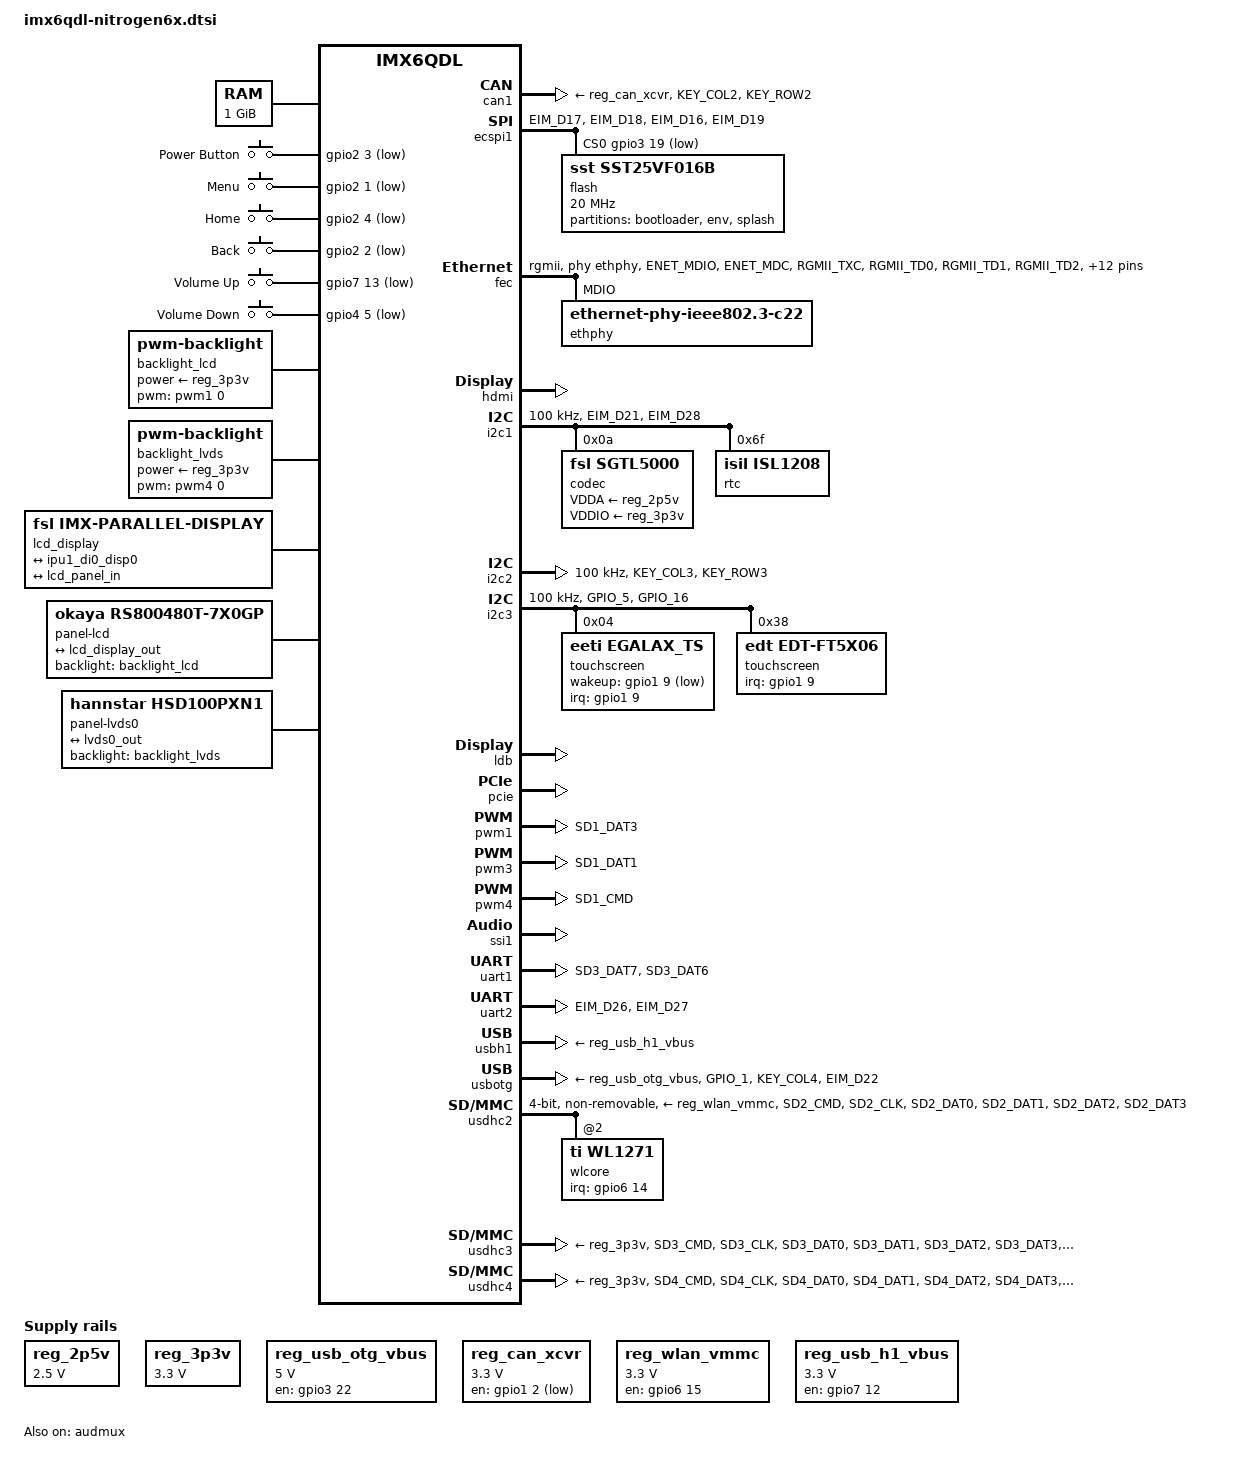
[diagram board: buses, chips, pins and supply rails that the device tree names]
// SPDX-License-Identifier: GPL-2.0 OR X11
/*
 * Copyright 2013 Boundary Devices, Inc.
 * Copyright 2011 Freescale Semiconductor, Inc.
 * Copyright 2011 Linaro Ltd.
 */
#include <dt-bindings/gpio/gpio.h>
#include <dt-bindings/input/input.h>

/ {
	chosen {
		stdout-path = &uart2;
	};

	memory@10000000 {
		device_type = "memory";
		reg = <0x10000000 0x40000000>;
	};

	reg_2p5v: regulator-2p5v {
		compatible = "regulator-fixed";
		regulator-name = "2P5V";
		regulator-min-microvolt = <2500000>;
		regulator-max-microvolt = <2500000>;
		regulator-always-on;
	};

	reg_3p3v: regulator-3p3v {
		compatible = "regulator-fixed";
		regulator-name = "3P3V";
		regulator-min-microvolt = <3300000>;
		regulator-max-microvolt = <3300000>;
		regulator-always-on;
	};

	reg_usb_otg_vbus: regulator-usb-otg-vbus {
		compatible = "regulator-fixed";
		regulator-name = "usb_otg_vbus";
		regulator-min-microvolt = <5000000>;
		regulator-max-microvolt = <5000000>;
		gpio = <&gpio3 22 0>;
		enable-active-high;
	};

	reg_can_xcvr: regulator-can-xcvr {
		compatible = "regulator-fixed";
		regulator-name = "CAN XCVR";
		regulator-min-microvolt = <3300000>;
		regulator-max-microvolt = <3300000>;
		pinctrl-names = "default";
		pinctrl-0 = <&pinctrl_can_xcvr>;
		gpio = <&gpio1 2 GPIO_ACTIVE_LOW>;
	};

	reg_wlan_vmmc: regulator-wlan-vmmc {
		compatible = "regulator-fixed";
		pinctrl-names = "default";
		pinctrl-0 = <&pinctrl_wlan_vmmc>;
		regulator-name = "reg_wlan_vmmc";
		regulator-min-microvolt = <3300000>;
		regulator-max-microvolt = <3300000>;
		gpio = <&gpio6 15 GPIO_ACTIVE_HIGH>;
		startup-delay-us = <70000>;
		enable-active-high;
	};

	reg_usb_h1_vbus: regulator-usb-h1-vbus {
		compatible = "regulator-fixed";
		pinctrl-names = "default";
		pinctrl-0 = <&pinctrl_usbh1>;
		regulator-name = "usb_h1_vbus";
		regulator-min-microvolt = <3300000>;
		regulator-max-microvolt = <3300000>;
		gpio = <&gpio7 12 GPIO_ACTIVE_HIGH>;
		enable-active-high;
	};

	gpio-keys {
		compatible = "gpio-keys";
		pinctrl-names = "default";
		pinctrl-0 = <&pinctrl_gpio_keys>;

		power {
			label = "Power Button";
			gpios = <&gpio2 3 GPIO_ACTIVE_LOW>;
			linux,code = <KEY_POWER>;
			wakeup-source;
		};

		menu {
			label = "Menu";
			gpios = <&gpio2 1 GPIO_ACTIVE_LOW>;
			linux,code = <KEY_MENU>;
		};

		home {
			label = "Home";
			gpios = <&gpio2 4 GPIO_ACTIVE_LOW>;
			linux,code = <KEY_HOME>;
		};

		back {
			label = "Back";
			gpios = <&gpio2 2 GPIO_ACTIVE_LOW>;
			linux,code = <KEY_BACK>;
		};

		volume-up {
			label = "Volume Up";
			gpios = <&gpio7 13 GPIO_ACTIVE_LOW>;
			linux,code = <KEY_VOLUMEUP>;
		};

		volume-down {
			label = "Volume Down";
			gpios = <&gpio4 5 GPIO_ACTIVE_LOW>;
			linux,code = <KEY_VOLUMEDOWN>;
		};
	};

	sound {
		compatible = "fsl,imx6q-nitrogen6x-sgtl5000",
			     "fsl,imx-audio-sgtl5000";
		model = "imx6q-nitrogen6x-sgtl5000";
		ssi-controller = <&ssi1>;
		audio-codec = <&codec>;
		audio-routing =
			"MIC_IN", "Mic Jack",
			"Mic Jack", "Mic Bias",
			"Headphone Jack", "HP_OUT";
		mux-int-port = <1>;
		mux-ext-port = <3>;
	};

	backlight_lcd: backlight-lcd {
		compatible = "pwm-backlight";
		pwms = <&pwm1 0 5000000 0>;
		brightness-levels = <0 4 8 16 32 64 128 255>;
		default-brightness-level = <7>;
		power-supply = <&reg_3p3v>;
		status = "okay";
	};

	backlight_lvds: backlight-lvds {
		compatible = "pwm-backlight";
		pwms = <&pwm4 0 5000000 0>;
		brightness-levels = <0 4 8 16 32 64 128 255>;
		default-brightness-level = <7>;
		power-supply = <&reg_3p3v>;
		status = "okay";
	};

	lcd_display: disp0 {
		compatible = "fsl,imx-parallel-display";
		#address-cells = <1>;
		#size-cells = <0>;
		interface-pix-fmt = "bgr666";
		pinctrl-names = "default";
		pinctrl-0 = <&pinctrl_j15>;
		status = "okay";

		port@0 {
			reg = <0>;

			lcd_display_in: endpoint {
				remote-endpoint = <&ipu1_di0_disp0>;
			};
		};

		port@1 {
			reg = <1>;

			lcd_display_out: endpoint {
				remote-endpoint = <&lcd_panel_in>;
			};
		};
	};

	panel-lcd {
		compatible = "okaya,rs800480t-7x0gp";
		backlight = <&backlight_lcd>;

		port {
			lcd_panel_in: endpoint {
				remote-endpoint = <&lcd_display_out>;
			};
		};
	};

	panel-lvds0 {
		compatible = "hannstar,hsd100pxn1";
		backlight = <&backlight_lvds>;

		port {
			panel_in: endpoint {
				remote-endpoint = <&lvds0_out>;
			};
		};
	};
};

&audmux {
	pinctrl-names = "default";
	pinctrl-0 = <&pinctrl_audmux>;
	status = "okay";
};

&can1 {
	pinctrl-names = "default";
	pinctrl-0 = <&pinctrl_can1>;
	xceiver-supply = <&reg_can_xcvr>;
	status = "okay";
};

&clks {
	assigned-clocks = <&clks IMX6QDL_CLK_LDB_DI0_SEL>,
			  <&clks IMX6QDL_CLK_LDB_DI1_SEL>;
	assigned-clock-parents = <&clks IMX6QDL_CLK_PLL3_USB_OTG>,
				 <&clks IMX6QDL_CLK_PLL3_USB_OTG>;
};

&ecspi1 {
	cs-gpios = <&gpio3 19 GPIO_ACTIVE_LOW>;
	pinctrl-names = "default";
	pinctrl-0 = <&pinctrl_ecspi1>;
	status = "okay";

	flash: flash@0 {
		compatible = "sst,sst25vf016b", "jedec,spi-nor";
		spi-max-frequency = <20000000>;
		reg = <0>;
		#address-cells = <1>;
		#size-cells = <1>;

		partition@0 {
			label = "bootloader";
			reg = <0x0 0xc0000>;
		};

		partition@c0000 {
			label = "env";
			reg = <0xc0000 0x2000>;
		};

		partition@c2000 {
			label = "splash";
			reg = <0xc2000 0x13e000>;
		};
	};
};

&fec {
	pinctrl-names = "default";
	pinctrl-0 = <&pinctrl_enet>;
	phy-mode = "rgmii";
	phy-handle = <&ethphy>;
	phy-reset-gpios = <&gpio1 27 GPIO_ACTIVE_LOW>;
	/delete-property/ interrupts;
	interrupts-extended = <&gpio1 6 IRQ_TYPE_LEVEL_HIGH>,
			      <&intc 0 119 IRQ_TYPE_LEVEL_HIGH>;
	fsl,err006687-workaround-present;
	status = "okay";

	mdio {
		#address-cells = <1>;
		#size-cells = <0>;

		ethphy: ethernet-phy {
			compatible = "ethernet-phy-ieee802.3-c22";
			txen-skew-ps = <0>;
			txc-skew-ps = <3000>;
			rxdv-skew-ps = <0>;
			rxc-skew-ps = <3000>;
			rxd0-skew-ps = <0>;
			rxd1-skew-ps = <0>;
			rxd2-skew-ps = <0>;
			rxd3-skew-ps = <0>;
			txd0-skew-ps = <0>;
			txd1-skew-ps = <0>;
			txd2-skew-ps = <0>;
			txd3-skew-ps = <0>;
		};
	};
};

&hdmi {
	ddc-i2c-bus = <&i2c2>;
	status = "okay";
};

&i2c1 {
	clock-frequency = <100000>;
	pinctrl-names = "default";
	pinctrl-0 = <&pinctrl_i2c1>;
	status = "okay";

	codec: sgtl5000@a {
		compatible = "fsl,sgtl5000";
		reg = <0x0a>;
		#sound-dai-cells = <0>;
		clocks = <&clks IMX6QDL_CLK_CKO>;
		VDDA-supply = <&reg_2p5v>;
		VDDIO-supply = <&reg_3p3v>;
	};

	rtc: rtc@6f {
		compatible = "isil,isl1208";
		reg = <0x6f>;
	};
};

&i2c2 {
	clock-frequency = <100000>;
	pinctrl-names = "default";
	pinctrl-0 = <&pinctrl_i2c2>;
	status = "okay";
};

&i2c3 {
	clock-frequency = <100000>;
	pinctrl-names = "default";
	pinctrl-0 = <&pinctrl_i2c3>;
	status = "okay";

	touchscreen@4 {
		compatible = "eeti,egalax_ts";
		reg = <0x04>;
		interrupt-parent = <&gpio1>;
		interrupts = <9 IRQ_TYPE_EDGE_FALLING>;
		wakeup-gpios = <&gpio1 9 GPIO_ACTIVE_LOW>;
	};

	touchscreen@38 {
		compatible = "edt,edt-ft5x06";
		reg = <0x38>;
		interrupt-parent = <&gpio1>;
		interrupts = <9 IRQ_TYPE_EDGE_FALLING>;
		wakeup-source;
	};
};

&iomuxc {
	pinctrl-names = "default";
	pinctrl-0 = <&pinctrl_hog>;

	imx6q-nitrogen6x {
		pinctrl_hog: hoggrp {
			fsl,pins = <
				/* SGTL5000 sys_mclk */
				MX6QDL_PAD_GPIO_0__CCM_CLKO1    0x030b0
				MX6QDL_PAD_GPIO_9__GPIO1_IO09	0x1b0b0
			>;
		};

		pinctrl_audmux: audmuxgrp {
			fsl,pins = <
				MX6QDL_PAD_CSI0_DAT7__AUD3_RXD		0x130b0
				MX6QDL_PAD_CSI0_DAT4__AUD3_TXC		0x130b0
				MX6QDL_PAD_CSI0_DAT5__AUD3_TXD		0x110b0
				MX6QDL_PAD_CSI0_DAT6__AUD3_TXFS		0x130b0
			>;
		};

		pinctrl_can1: can1grp {
			fsl,pins = <
				MX6QDL_PAD_KEY_COL2__FLEXCAN1_TX	0x1b0b0
				MX6QDL_PAD_KEY_ROW2__FLEXCAN1_RX	0x1b0b0
			>;
		};

		pinctrl_can_xcvr: can-xcvrgrp {
			fsl,pins = <
				/* Flexcan XCVR enable */
				MX6QDL_PAD_GPIO_2__GPIO1_IO02		0x1b0b0
			>;
		};

		pinctrl_ecspi1: ecspi1grp {
			fsl,pins = <
				MX6QDL_PAD_EIM_D17__ECSPI1_MISO		0x100b1
				MX6QDL_PAD_EIM_D18__ECSPI1_MOSI		0x100b1
				MX6QDL_PAD_EIM_D16__ECSPI1_SCLK		0x100b1
				MX6QDL_PAD_EIM_D19__GPIO3_IO19  0x000b1	/* CS */
			>;
		};

		pinctrl_enet: enetgrp {
			fsl,pins = <
				MX6QDL_PAD_ENET_MDIO__ENET_MDIO		0x100b0
				MX6QDL_PAD_ENET_MDC__ENET_MDC		0x100b0
				MX6QDL_PAD_RGMII_TXC__RGMII_TXC		0x10030
				MX6QDL_PAD_RGMII_TD0__RGMII_TD0		0x10030
				MX6QDL_PAD_RGMII_TD1__RGMII_TD1		0x10030
				MX6QDL_PAD_RGMII_TD2__RGMII_TD2		0x10030
				MX6QDL_PAD_RGMII_TD3__RGMII_TD3		0x10030
				MX6QDL_PAD_RGMII_TX_CTL__RGMII_TX_CTL	0x10030
				MX6QDL_PAD_ENET_REF_CLK__ENET_TX_CLK	0x100b0
				MX6QDL_PAD_RGMII_RXC__RGMII_RXC		0x1b030
				MX6QDL_PAD_RGMII_RD0__RGMII_RD0		0x1b030
				MX6QDL_PAD_RGMII_RD1__RGMII_RD1		0x1b030
				MX6QDL_PAD_RGMII_RD2__RGMII_RD2		0x1b030
				MX6QDL_PAD_RGMII_RD3__RGMII_RD3		0x1b030
				MX6QDL_PAD_RGMII_RX_CTL__RGMII_RX_CTL	0x1b030
				/* Phy reset */
				MX6QDL_PAD_ENET_RXD0__GPIO1_IO27	0x000b0
				MX6QDL_PAD_GPIO_6__ENET_IRQ		0x000b1
			>;
		};

		pinctrl_gpio_keys: gpio-keysgrp {
			fsl,pins = <
				/* Power Button */
				MX6QDL_PAD_NANDF_D3__GPIO2_IO03		0x1b0b0
				/* Menu Button */
				MX6QDL_PAD_NANDF_D1__GPIO2_IO01		0x1b0b0
				/* Home Button */
				MX6QDL_PAD_NANDF_D4__GPIO2_IO04		0x1b0b0
				/* Back Button */
				MX6QDL_PAD_NANDF_D2__GPIO2_IO02		0x1b0b0
				/* Volume Up Button */
				MX6QDL_PAD_GPIO_18__GPIO7_IO13		0x1b0b0
				/* Volume Down Button */
				MX6QDL_PAD_GPIO_19__GPIO4_IO05		0x1b0b0
			>;
		};

		pinctrl_i2c1: i2c1grp {
			fsl,pins = <
				MX6QDL_PAD_EIM_D21__I2C1_SCL		0x4001b8b1
				MX6QDL_PAD_EIM_D28__I2C1_SDA		0x4001b8b1
			>;
		};

		pinctrl_i2c2: i2c2grp {
			fsl,pins = <
				MX6QDL_PAD_KEY_COL3__I2C2_SCL		0x4001b8b1
				MX6QDL_PAD_KEY_ROW3__I2C2_SDA		0x4001b8b1
			>;
		};

		pinctrl_i2c3: i2c3grp {
			fsl,pins = <
				MX6QDL_PAD_GPIO_5__I2C3_SCL		0x4001b8b1
				MX6QDL_PAD_GPIO_16__I2C3_SDA		0x4001b8b1
			>;
		};

		pinctrl_j15: j15grp {
			fsl,pins = <
				MX6QDL_PAD_DI0_DISP_CLK__IPU1_DI0_DISP_CLK 0x10
				MX6QDL_PAD_DI0_PIN15__IPU1_DI0_PIN15       0x10
				MX6QDL_PAD_DI0_PIN2__IPU1_DI0_PIN02        0x10
				MX6QDL_PAD_DI0_PIN3__IPU1_DI0_PIN03        0x10
				MX6QDL_PAD_DISP0_DAT0__IPU1_DISP0_DATA00   0x10
				MX6QDL_PAD_DISP0_DAT1__IPU1_DISP0_DATA01   0x10
				MX6QDL_PAD_DISP0_DAT2__IPU1_DISP0_DATA02   0x10
				MX6QDL_PAD_DISP0_DAT3__IPU1_DISP0_DATA03   0x10
				MX6QDL_PAD_DISP0_DAT4__IPU1_DISP0_DATA04   0x10
				MX6QDL_PAD_DISP0_DAT5__IPU1_DISP0_DATA05   0x10
				MX6QDL_PAD_DISP0_DAT6__IPU1_DISP0_DATA06   0x10
				MX6QDL_PAD_DISP0_DAT7__IPU1_DISP0_DATA07   0x10
				MX6QDL_PAD_DISP0_DAT8__IPU1_DISP0_DATA08   0x10
				MX6QDL_PAD_DISP0_DAT9__IPU1_DISP0_DATA09   0x10
				MX6QDL_PAD_DISP0_DAT10__IPU1_DISP0_DATA10  0x10
				MX6QDL_PAD_DISP0_DAT11__IPU1_DISP0_DATA11  0x10
				MX6QDL_PAD_DISP0_DAT12__IPU1_DISP0_DATA12  0x10
				MX6QDL_PAD_DISP0_DAT13__IPU1_DISP0_DATA13  0x10
				MX6QDL_PAD_DISP0_DAT14__IPU1_DISP0_DATA14  0x10
				MX6QDL_PAD_DISP0_DAT15__IPU1_DISP0_DATA15  0x10
				MX6QDL_PAD_DISP0_DAT16__IPU1_DISP0_DATA16  0x10
				MX6QDL_PAD_DISP0_DAT17__IPU1_DISP0_DATA17  0x10
				MX6QDL_PAD_DISP0_DAT18__IPU1_DISP0_DATA18  0x10
				MX6QDL_PAD_DISP0_DAT19__IPU1_DISP0_DATA19  0x10
				MX6QDL_PAD_DISP0_DAT20__IPU1_DISP0_DATA20  0x10
				MX6QDL_PAD_DISP0_DAT21__IPU1_DISP0_DATA21  0x10
				MX6QDL_PAD_DISP0_DAT22__IPU1_DISP0_DATA22  0x10
				MX6QDL_PAD_DISP0_DAT23__IPU1_DISP0_DATA23  0x10
			>;
		};

		pinctrl_pwm1: pwm1grp {
			fsl,pins = <
				MX6QDL_PAD_SD1_DAT3__PWM1_OUT 0x1b0b1
			>;
		};

		pinctrl_pwm3: pwm3grp {
			fsl,pins = <
				MX6QDL_PAD_SD1_DAT1__PWM3_OUT 0x1b0b1
			>;
		};

		pinctrl_pwm4: pwm4grp {
			fsl,pins = <
				MX6QDL_PAD_SD1_CMD__PWM4_OUT 0x1b0b1
			>;
		};

		pinctrl_uart1: uart1grp {
			fsl,pins = <
				MX6QDL_PAD_SD3_DAT7__UART1_TX_DATA	0x1b0b1
				MX6QDL_PAD_SD3_DAT6__UART1_RX_DATA	0x1b0b1
			>;
		};

		pinctrl_uart2: uart2grp {
			fsl,pins = <
				MX6QDL_PAD_EIM_D26__UART2_TX_DATA	0x1b0b1
				MX6QDL_PAD_EIM_D27__UART2_RX_DATA	0x1b0b1
			>;
		};

		pinctrl_usbh1: usbh1grp {
			fsl,pins = <
				MX6QDL_PAD_GPIO_17__GPIO7_IO12		0x030b0
			>;
		};

		pinctrl_usbotg: usbotggrp {
			fsl,pins = <
				MX6QDL_PAD_GPIO_1__USB_OTG_ID	0x17059
				MX6QDL_PAD_KEY_COL4__USB_OTG_OC	0x1b0b0
				/* power enable, high active */
				MX6QDL_PAD_EIM_D22__GPIO3_IO22  0x000b0
			>;
		};

		pinctrl_usdhc2: usdhc2grp {
			fsl,pins = <
				MX6QDL_PAD_SD2_CMD__SD2_CMD		0x17071
				MX6QDL_PAD_SD2_CLK__SD2_CLK		0x10071
				MX6QDL_PAD_SD2_DAT0__SD2_DATA0		0x17071
				MX6QDL_PAD_SD2_DAT1__SD2_DATA1		0x17071
				MX6QDL_PAD_SD2_DAT2__SD2_DATA2		0x17071
				MX6QDL_PAD_SD2_DAT3__SD2_DATA3		0x17071
			>;
		};

		pinctrl_usdhc3: usdhc3grp {
			fsl,pins = <
				MX6QDL_PAD_SD3_CMD__SD3_CMD		0x17059
				MX6QDL_PAD_SD3_CLK__SD3_CLK		0x10059
				MX6QDL_PAD_SD3_DAT0__SD3_DATA0		0x17059
				MX6QDL_PAD_SD3_DAT1__SD3_DATA1		0x17059
				MX6QDL_PAD_SD3_DAT2__SD3_DATA2		0x17059
				MX6QDL_PAD_SD3_DAT3__SD3_DATA3		0x17059
				MX6QDL_PAD_SD3_DAT5__GPIO7_IO00 0x1b0b0	/* CD */
			>;
		};

		pinctrl_usdhc4: usdhc4grp {
			fsl,pins = <
				MX6QDL_PAD_SD4_CMD__SD4_CMD		0x17059
				MX6QDL_PAD_SD4_CLK__SD4_CLK		0x10059
				MX6QDL_PAD_SD4_DAT0__SD4_DATA0		0x17059
				MX6QDL_PAD_SD4_DAT1__SD4_DATA1		0x17059
				MX6QDL_PAD_SD4_DAT2__SD4_DATA2		0x17059
				MX6QDL_PAD_SD4_DAT3__SD4_DATA3		0x17059
				MX6QDL_PAD_NANDF_D6__GPIO2_IO06 0x1b0b0	/* CD */
			>;
		};

		pinctrl_wlan_vmmc: wlan-vmmcgrp {
			fsl,pins = <
				MX6QDL_PAD_NANDF_CS0__GPIO6_IO11	0x100b0
				MX6QDL_PAD_NANDF_CS2__GPIO6_IO15	0x000b0
				MX6QDL_PAD_NANDF_CS3__GPIO6_IO16	0x000b0
				MX6QDL_PAD_SD1_CLK__OSC32K_32K_OUT	0x000b0
			>;
		};
	};
};

&ipu1_di0_disp0 {
	remote-endpoint = <&lcd_display_in>;
};

&ldb {
	status = "okay";

	lvds-channel@0 {
		status = "okay";

		port@4 {
			reg = <4>;

			lvds0_out: endpoint {
				remote-endpoint = <&panel_in>;
			};
		};
	};
};

&pcie {
	status = "okay";
};

&pwm1 {
	pinctrl-names = "default";
	pinctrl-0 = <&pinctrl_pwm1>;
	status = "okay";
};

&pwm3 {
	pinctrl-names = "default";
	pinctrl-0 = <&pinctrl_pwm3>;
	status = "okay";
};

&pwm4 {
	pinctrl-names = "default";
	pinctrl-0 = <&pinctrl_pwm4>;
	status = "okay";
};

&ssi1 {
	status = "okay";
};

&uart1 {
	pinctrl-names = "default";
	pinctrl-0 = <&pinctrl_uart1>;
	status = "okay";
};

&uart2 {
	pinctrl-names = "default";
	pinctrl-0 = <&pinctrl_uart2>;
	status = "okay";
};

&usbh1 {
	vbus-supply = <&reg_usb_h1_vbus>;
	status = "okay";
};

&usbotg {
	vbus-supply = <&reg_usb_otg_vbus>;
	pinctrl-names = "default";
	pinctrl-0 = <&pinctrl_usbotg>;
	disable-over-current;
	status = "okay";
};

&usdhc2 {
	pinctrl-names = "default";
	pinctrl-0 = <&pinctrl_usdhc2>;
	bus-width = <4>;
	non-removable;
	vmmc-supply = <&reg_wlan_vmmc>;
	cap-power-off-card;
	keep-power-in-suspend;
	status = "okay";

	#address-cells = <1>;
	#size-cells = <0>;
	wlcore: wlcore@2 {
		compatible = "ti,wl1271";
		reg = <2>;
		interrupt-parent = <&gpio6>;
		interrupts = <14 IRQ_TYPE_LEVEL_HIGH>;
		ref-clock-frequency = <38400000>;
	};
};

&usdhc3 {
	pinctrl-names = "default";
	pinctrl-0 = <&pinctrl_usdhc3>;
	cd-gpios = <&gpio7 0 GPIO_ACTIVE_LOW>;
	vmmc-supply = <&reg_3p3v>;
	status = "okay";
};

&usdhc4 {
	pinctrl-names = "default";
	pinctrl-0 = <&pinctrl_usdhc4>;
	cd-gpios = <&gpio2 6 GPIO_ACTIVE_LOW>;
	vmmc-supply = <&reg_3p3v>;
	status = "okay";
};
